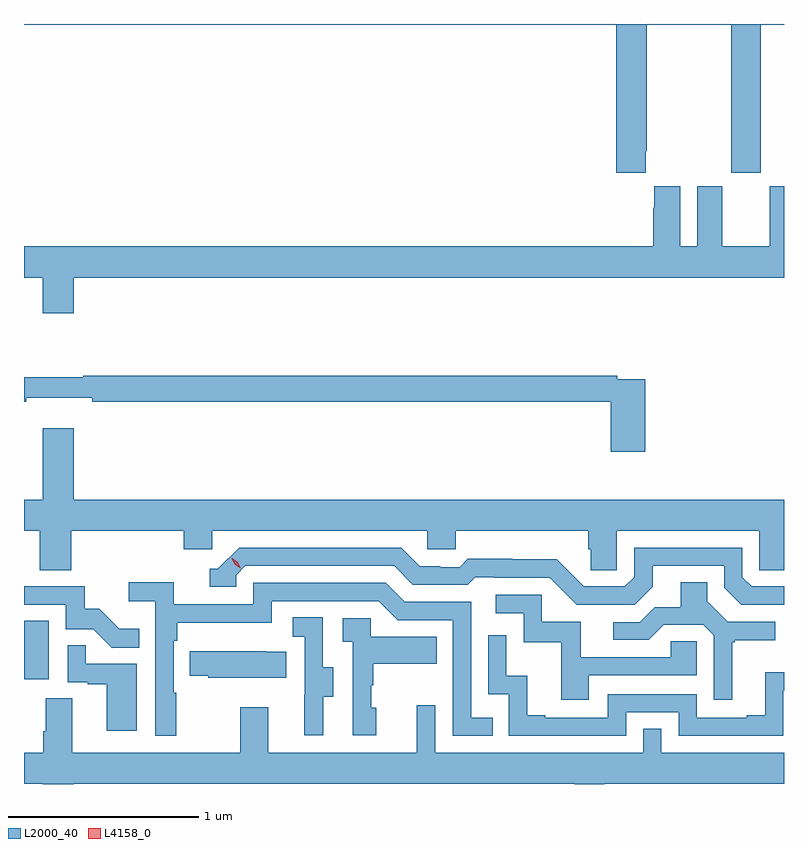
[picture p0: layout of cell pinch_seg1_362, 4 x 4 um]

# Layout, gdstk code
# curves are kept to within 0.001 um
import gdstk
lib = gdstk.Library(unit=1e-6, precision=1e-09)
def R(c, l, rs):  # rectangles x0, y0, x1, y1
    for r in rs: c.add(gdstk.rectangle(r[:2], r[2:], *l))
def P(c, l, *ps):  # polygons
    for p in ps: c.add(gdstk.Polygon(p, *l))
L2000_40 = (2000, 40)
L4158_0 = (4158, 0)

pinch_seg1_362 = lib.new_cell('pinch_seg1_362')
R(pinch_seg1_362, L2000_40, [(956.117,540.294,956.248,540.601)])
P(pinch_seg1_362, L2000_40, [(956.117,543.74),(959.234,543.74),(959.234,542.961),(959.389,542.961),(959.389,543.073),(959.394,543.073),(959.394,543.74),(959.839,543.74),(959.839,542.961),(959.994,542.961),(959.994,543.74),(960.117,543.74),(960.117,543.743),(956.117,543.743)],
  [(956.117,542.408),(956.216,542.408),(956.216,542.22),(956.38,542.22),(956.38,542.408),(960.117,542.408),(960.117,542.89),(960.041,542.89),(960.041,542.572),(959.791,542.572),(959.791,542.89),(959.66,542.89),(959.66,542.572),(959.572,542.572),(959.572,542.89),(959.435,542.89),(959.435,542.777),(959.429,542.777),(959.429,542.572),(956.117,542.572)],
  [(959.387,541.872),(959.24,541.872),(959.24,541.892),(956.428,541.892),(956.428,541.885),(956.117,541.885),(956.117,541.756),(956.128,541.756),(956.128,541.775),(956.476,541.775),(956.476,541.756),(959.204,541.756),(959.204,541.491),(959.387,541.491)],
  [(956.366,541.076),(956.957,541.076),(956.957,540.978),(957.108,540.978),(957.108,541.076),(958.239,541.076),(958.239,540.978),(958.389,540.978),(958.389,541.076),(959.087,541.076),(959.087,540.978),(959.101,540.978),(959.101,540.868),(959.238,540.868),(959.238,541.076),(959.988,541.076),(959.988,540.868),(960.117,540.868),(960.117,541.24),(956.38,541.24),(956.38,541.615),(956.216,541.615),(956.216,541.24),(956.117,541.24),(956.117,541.076),(956.201,541.076),(956.201,540.868),(956.366,540.868)],
  [(960.117,540.783),(959.946,540.783),(959.898,540.831),(959.898,540.987),(959.328,540.987),(959.328,540.831),(959.28,540.783),(959.064,540.783),(958.922,540.925),(958.686,540.925),(958.686,540.928),(958.453,540.928),(958.411,540.885),(958.308,540.885),(958.308,540.888),(958.201,540.888),(958.102,540.987),(957.249,540.987),(957.138,540.876),(957.095,540.876),(957.095,540.78),(957.234,540.78),(957.234,540.843),(957.282,540.891),(958.065,540.891),(958.164,540.792),(958.453,540.792),(958.492,540.831),(958.591,540.831),(958.591,540.828),(958.884,540.828),(959.025,540.687),(959.331,540.687),(959.425,540.781),(959.425,540.891),(959.802,540.891),(959.802,540.777),(959.892,540.687),(960.117,540.686)],
  [(956.917,540.224),(956.904,540.224),(956.904,540.497),(956.924,540.497),(956.924,540.593),(957.42,540.593),(957.42,540.705),(957.984,540.705),(958.083,540.606),(958.374,540.606),(958.374,539.997),(958.583,539.997),(958.583,540.093),(958.47,540.093),(958.47,540.702),(958.12,540.702),(958.021,540.801),(957.324,540.801),(957.324,540.69),(956.906,540.69),(956.906,540.806),(956.667,540.806),(956.667,540.704),(956.808,540.704),(956.808,539.997),(956.917,539.997)],
  [(959.845,540.489),(959.857,540.489),(959.857,540.5),(960.07,540.5),(960.07,540.597),(959.82,540.597),(959.713,540.704),(959.713,540.806),(959.573,540.806),(959.573,540.674),(959.438,540.674),(959.358,540.594),(959.217,540.594),(959.217,540.501),(959.404,540.501),(959.485,540.582),(959.691,540.582),(959.748,540.525),(959.748,540.186),(959.845,540.186)],
  [(956.723,540.559),(956.619,540.559),(956.512,540.666),(956.436,540.666),(956.436,540.783),(956.117,540.783),(956.117,540.687),(956.337,540.687),(956.337,540.558),(956.481,540.558),(956.579,540.46),(956.723,540.46)],
  [(959.089,540.315),(959.658,540.315),(959.658,540.495),(959.521,540.495),(959.521,540.411),(959.047,540.411),(959.047,540.597),(958.842,540.597),(958.842,540.738),(958.599,540.738),(958.599,540.642),(958.746,540.642),(958.746,540.489),(958.945,540.489),(958.945,540.186),(959.089,540.186)],
  [(957.691,540.202),(957.745,540.202),(957.745,540.357),(957.69,540.357),(957.69,540.62),(957.531,540.62),(957.531,540.517),(957.594,540.517),(957.594,540.213),(957.593,540.213),(957.593,540),(957.691,540)],
  [(957.97,540.144),(957.945,540.144),(957.945,540.263),(957.955,540.263),(957.955,540.377),(958.289,540.377),(958.289,540.517),(957.942,540.517),(957.942,540.615),(957.795,540.615),(957.795,540.491),(957.846,540.491),(957.846,540),(957.97,540)],
  [(959.286,540.12),(959.562,540.12),(959.562,539.997),(960.114,539.997),(960.114,540.233),(960.117,540.233),(960.117,540.331),(960.017,540.331),(960.017,540.106),(959.921,540.106),(959.921,540.093),(959.658,540.093),(959.658,540.216),(959.19,540.216),(959.19,540.093),(958.861,540.093),(958.861,540.106),(958.766,540.106),(958.766,540.314),(958.656,540.314),(958.656,540.526),(958.56,540.526),(958.56,540.216),(958.668,540.216),(958.668,539.997),(959.286,539.997)],
  [(956.71,540.375),(956.441,540.375),(956.441,540.473),(956.346,540.473),(956.346,540.279),(956.453,540.279),(956.453,540.267),(956.552,540.267),(956.552,540.024),(956.71,540.024)],
  [(957.497,540.439),(957.389,540.439),(957.389,540.442),(956.989,540.442),(956.989,540.313),(957.087,540.313),(957.087,540.302),(957.497,540.302)],
  [(959.015,539.743),(959.171,539.743),(959.171,539.744),(960.117,539.744),(960.117,539.908),(959.472,539.908),(959.472,540.035),(959.376,540.035),(959.376,539.908),(958.281,539.908),(958.281,540.157),(958.184,540.157),(958.184,539.908),(957.403,539.908),(957.403,540.148),(957.256,540.148),(957.256,539.908),(956.371,539.908),(956.371,540.194),(956.231,540.194),(956.231,540.02),(956.219,540.02),(956.219,539.908),(956.117,539.908),(956.117,539.744),(956.216,539.744),(956.216,539.743),(956.38,539.743),(956.38,539.744),(959.015,539.744)])
P(pinch_seg1_362, L4158_0, [(957.258,540.878),(957.228,540.897),(957.211,540.929),(957.211,540.93),(957.212,540.93),(957.242,540.91),(957.259,540.878),(957.259,540.878)])

lib.write_gds('pinch_seg1_362.gds')
